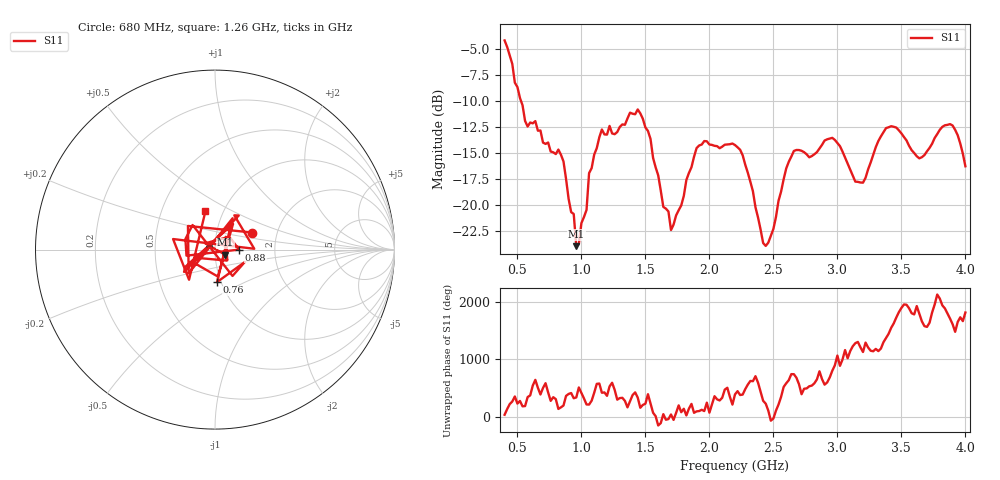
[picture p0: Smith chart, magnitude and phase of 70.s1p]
!Created with skrf (http://scikit-rf.org).
# Hz S RI R 50.0
!freq ReS11 ImS11
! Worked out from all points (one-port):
!   181 points, 400 MHz to 4 GHz, reference 50 ohm
!   lowest |S11| = -23.9 dB at 960 MHz (marker M1), VSWR 1.14, Z = 55.9 - j3.2 ohm
!   |S11| at or under -10 dB: 529.2 MHz to end of sweep
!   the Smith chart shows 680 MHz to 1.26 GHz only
!   S11 on the Smith chart (normalised r, x): 680 MHz: 1.49, +0.30; 760 MHz: 0.96, -0.36; 880 MHz: 1.31, -0.00; 1.26 GHz: 0.82, +0.37
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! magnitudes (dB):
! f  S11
! 400 MHz  -4.1
! 560 MHz  -11.9
! 680 MHz  -12.8
! 760 MHz  -14.8
! 860 MHz  -15.8
! 880 MHz  -17.5
! 940 MHz  -20.8
! 960 MHz  -23.9
! 1.16 GHz  -12.7
! 1.26 GHz  -13.2
! 1.3 GHz  -12.5
! 1.44 GHz  -10.8
! 1.54 GHz  -13.6
! 1.7 GHz  -22.4
! 1.76 GHz  -20.5
! 1.9 GHz  -14.5
! 2.2 GHz  -14.2
! 2.26 GHz  -15.2
! 2.44 GHz  -23.9
! 2.66 GHz  -14.8
! 2.96 GHz  -13.5
! 3.1 GHz  -16.6
! 3.2 GHz  -17.8
! 3.38 GHz  -12.6
! 3.56 GHz  -14.3
! 3.66 GHz  -15.4
! 3.88 GHz  -12.2
! 4 GHz  -16.2
